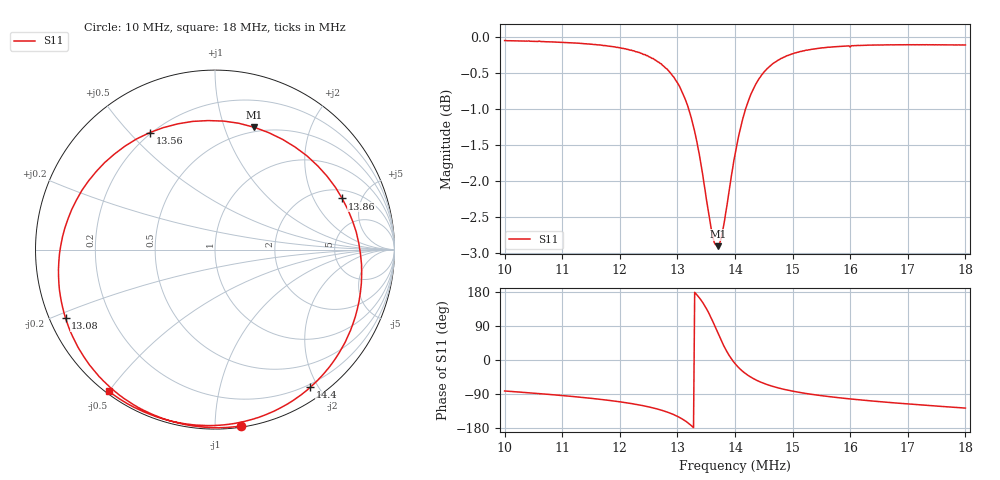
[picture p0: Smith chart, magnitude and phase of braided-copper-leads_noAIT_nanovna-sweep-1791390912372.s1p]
! NanoVNA Web complex sweep
! Processing: original sample grid, no browser smoothing
# Hz S RI R 50
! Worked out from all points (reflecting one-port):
!   401 points, 10 MHz to 18 MHz, reference 50 ohm
!   lowest |S11| = -2.9 dB at 13.7 MHz (marker M1), VSWR 6.04, Z = 22.7 + j63.4 ohm
!   phase of S11 starts at -82 deg and turns -405 deg over the sweep
!   S11 on the Smith chart (normalised r, x): 10 MHz: 0.01, -1.16; 13.08 MHz: 0.05, -0.22; 13.56 MHz: 0.19, +0.57; 13.86 MHz: 2.51, +3.43; 14.4 MHz: 0.16, -1.90; 18 MHz: 0.01, -0.50
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1e7  0.1427 -0.9837
1.1e7  -0.0655 -0.989
1.2e7  -0.3412 -0.9215
1.234e7  -0.4681 -0.8556
1.26e7  -0.584 -0.7675
1.282e7  -0.6979 -0.6445
1.3e7  -0.7937 -0.4833
1.308e7  -0.8327 -0.3821
1.324e7  -0.8721 -0.1089
1.336e7  -0.8183 0.1731
1.346e7  -0.6615 0.4353
1.356e7  -0.3629 0.6524
1.364e7  -0.0387 0.7188
1.37e7  0.2191 0.6813
1.378e7  0.5124 0.5222
1.386e7  0.7085 0.285
1.392e7  0.7869 0.0981
1.4e7  0.8172 -0.1352
1.408e7  0.7933 -0.3297
1.418e7  0.7247 -0.5172
1.428e7  0.638 -0.6533
1.44e7  0.5313 -0.7668
1.466e7  0.3301 -0.8996
1.5e7  0.1322 -0.9642
1.544e7  -0.0498 -0.9802
1.6e7  -0.2176 -0.9594
1.7e7  -0.432 -0.8879
1.8e7  -0.5924 -0.7896
